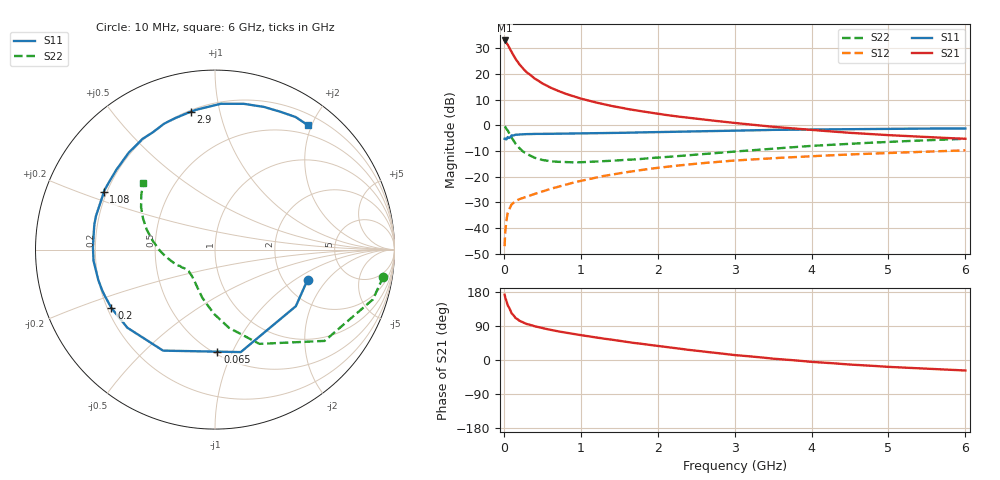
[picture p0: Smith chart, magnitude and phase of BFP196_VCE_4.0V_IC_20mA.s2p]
! (c) 2016  Infineon Technologies AG, Munich
! Infineon Technologies  Discrete & RF Semiconductors
! BFP196
! VCE = 4.0 V,  IC =  20mA
! Common Emitter S-Parameters:  Jan 2016
# GHz  S  MA  R  50
!  f  S11  S21  S12  S22
! GHz  MAG  ANG  MAG  ANG  MAG  ANG  MAG  ANG
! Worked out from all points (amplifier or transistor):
!   210 points, 10 MHz to 6 GHz, reference 50 ohm
!   highest |S21| = 33.1 dB at 10 MHz (marker M1)
!   |S21| within 3 dB of that: start of sweep to 73.52 MHz
!   unconditionally stable (mu >= 1): 675.7 MHz to 3.466 GHz; 3.584 GHz to 3.862 GHz
!   at 185 MHz: K = 0.47, MSG = 26.8 dB, |S12| = -29.0 dB
!   at 1.52 GHz: K = 1.11, MAG = 10.8 dB, |S12| = -18.6 dB
!   at 6 GHz: K = 0.96, MSG = 2.3 dB, |S12| = -9.8 dB
!   S11 on the Smith chart (normalised r, x): 10 MHz: 2.68, -1.28; 65 MHz: 0.52, -0.88; 200 MHz: 0.22, -0.25; 1.08 GHz: 0.19, +0.24; 2.9 GHz: 0.21, +0.82; 6 GHz: 0.35, +1.94
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0.01  0.5426 -18.1  44.93 172.4  0.0044 82.6  0.9496 -9.1
0.02  0.5498 -35.0  43.21 163.7  0.009 75.8  0.9228 -17.5
0.05  0.5888 -75.9  37.24 144.4  0.0195 61.2  0.7949 -39.8
0.065  0.5688 -88.6  33.69 139.5  0.0221 56.0  0.718 -45.7
0.1  0.6329 -117.2  26.8 123.3  0.0285 47.6  0.5804 -64.8
0.15  0.6541 -138.3  19.84 111.3  0.0331 41.8  0.4423 -79.9
0.2  0.6627 -150.6  15.6 103.9  0.0362 40.4  0.361 -90.4
0.24  0.666 -157.5  13.23 99.8  0.038 40.8  0.3174 -96.8
0.3  0.6719 -165.3  10.7 94.9  0.0405 42.4  0.2751 -105.2
0.4  0.6797 -174.7  8.158 89.0  0.0459 44.8  0.2328 -115.1
0.5  0.68 179.0  6.54 84.2  0.0509 47.3  0.2108 -122.4
0.6  0.6813 173.2  5.473 79.8  0.0572 49.3  0.1998 -128.0
0.7  0.6867 168.1  4.713 75.7  0.0626 50.9  0.1939 -132.5
1.02  0.693 154.8  3.254 65.1  0.0838 52.6  0.1908 -141.8
1.08  0.6976 152.6  3.077 63.2  0.0878 52.7  0.1925 -143.1
1.4  0.7067 141.6  2.378 53.7  0.1086 51.4  0.2024 -149.2
2.02  0.7371 122.8  1.657 36.6  0.1492 45.9  0.2352 -160.6
2.9  0.7801 99.8  1.152 15.4  0.1998 35.6  0.299 -177.2
3.1  0.7897 95.6  1.072 11.4  0.2098 33.0  0.3152 179.1
4.1  0.8293 77.2  0.789 -6.2  0.2533 21.3  0.4039 162.2
5.1  0.8519 63.6  0.631 -19.0  0.2918 10.4  0.4813 148.8
6  0.8649 53.3  0.545 -27.7  0.3241 0.3  0.5443 137.3
